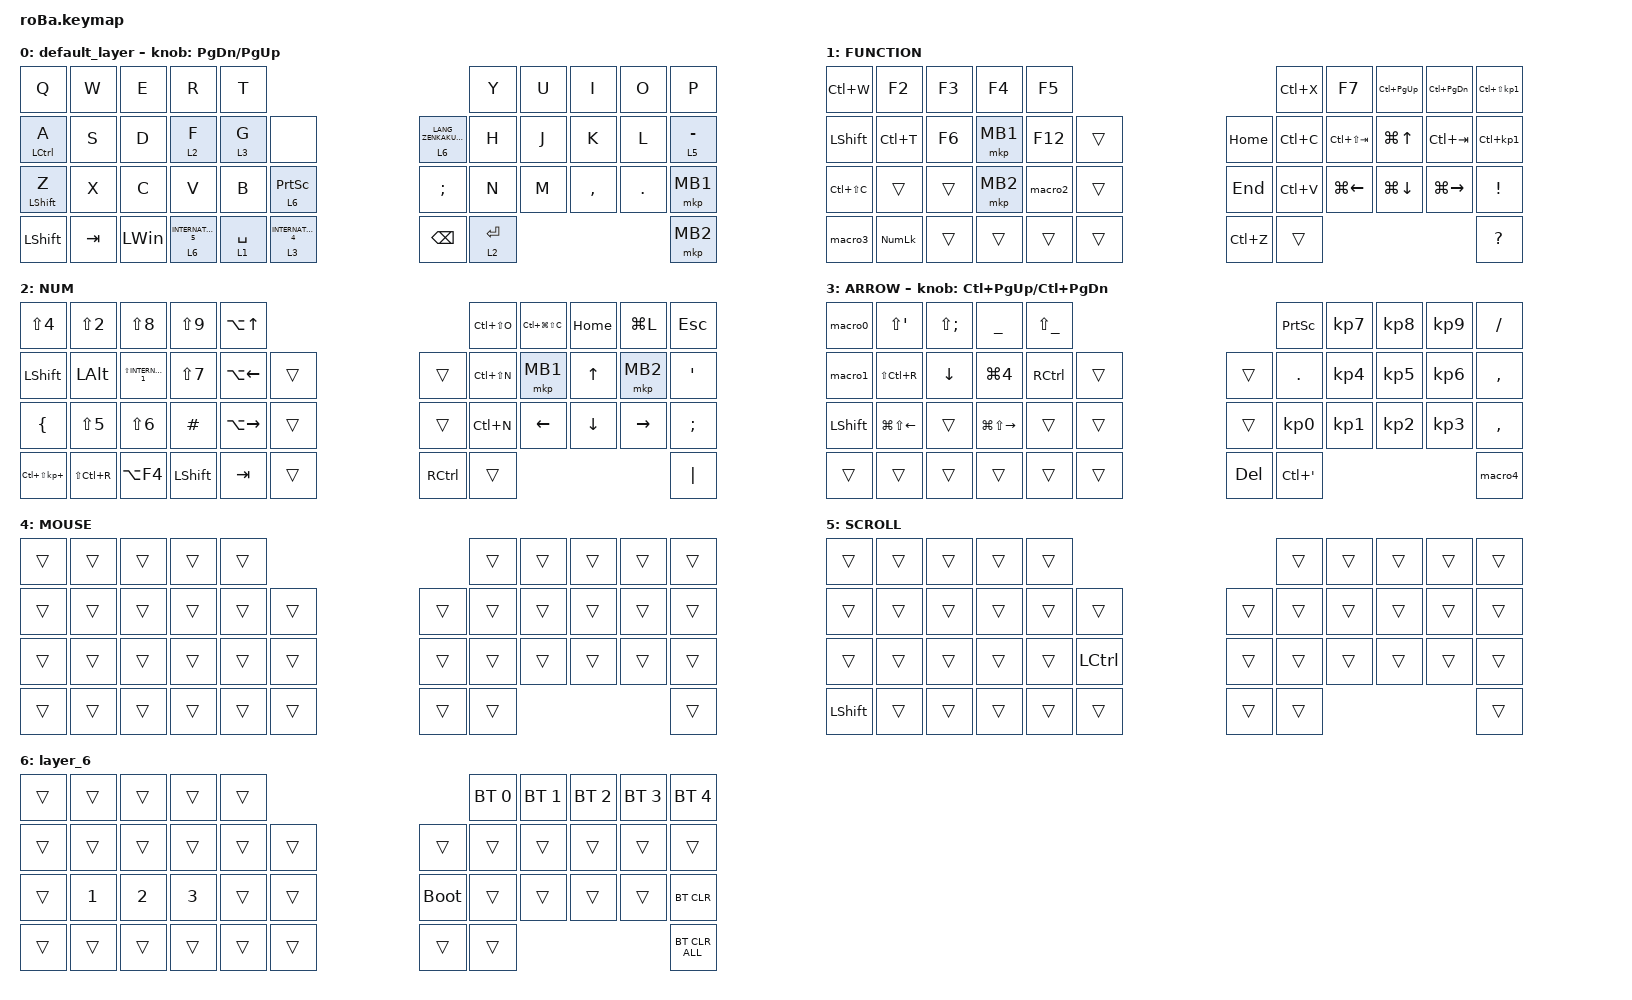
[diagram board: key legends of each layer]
#include <behaviors.dtsi>
#include <dt-bindings/zmk/bt.h>
#include <dt-bindings/zmk/keys.h>
#include <dt-bindings/zmk/pointing.h>

&mt {
    flavor = "balanced";
    quick-tap-ms = <0>;
};

&trackball {
    automouse-layer = <4>;
    scroll-layers = <5>;

    // arrows {
    //     layers = <3>;
    //     bindings =
    //         <&kp RIGHT_ARROW>,
    //         <&kp LEFT_ARROW>,
    //         <&kp UP_ARROW>,
    //         <&kp DOWN_ARROW>;
    //     tick = <10>;
    //     wait-ms = <5>;
    //     tap-ms = <5>;
    // };
};

/ {
    combos {
        compatible = "zmk,combos";

        macro4 {
            bindings = <&macro4>;
            key-positions = <11 12>;
        };
    };

    macros {
        to_layer_0: to_layer_0 {
            compatible = "zmk,behavior-macro-one-param";
            #binding-cells = <1>;
            bindings = <&to 0 &macro_param_1to1 &kp MACRO_PLACEHOLDER>;
            label = "TO_LAYER_0";
        };

        macro0: macro0 {
            compatible = "zmk,behavior-macro";
            #binding-cells = <0>;
            bindings = <&kp INT_MUHENKAN &kp LS(Q) &kp LS(Z) &kp U &kp G &kp X &kp NUMBER_2 &kp J &kp I &kp R &kp LS(R)>;
            label = "MACRO0";
        };

        macro1: macro1 {
            compatible = "zmk,behavior-macro";
            #binding-cells = <0>;
            bindings = <&kp N1 &kp N1 &kp N4 &kp N1 &kp N0 &kp N9 &kp N2>;
            label = "MACRO1";
        };

        macro2: macro2 {
            compatible = "zmk,behavior-macro";
            #binding-cells = <0>;
            bindings = <&kp INT_MUHENKAN &kp LEFT_ALT &kp F &kp A &kp B>;
            label = "MACRO2";
        };

        macro3: macro3 {
            compatible = "zmk,behavior-macro";
            #binding-cells = <0>;
            bindings = <&kp INT_MUHENKAN &kp LEFT_ALT &kp H &kp F &kp F &kp M &kp E &kp I &kp R &kp Y &kp O &kp SPACE &kp U &kp I &kp ENTER>;
            label = "MACRO3";
        };

        macro4: macro4 {
            compatible = "zmk,behavior-macro";
            #binding-cells = <0>;
            bindings = <&kp LEFT_ALT &kp F &kp I &kp U &kp N1>;
            label = "MACRO4";
        };
    };

    behaviors {
        lt_to_layer_0: lt_to_layer_0 {
            compatible = "zmk,behavior-hold-tap";
            label = "LAYER_TAP_TO_0";
            bindings = <&mo>, <&to_layer_0>;

            #binding-cells = <2>;
            tapping-term-ms = <200>;
        };
    };

    keymap {
        compatible = "zmk,keymap";

        default_layer {
            bindings = <
&kp Q             &kp W    &kp E         &kp R                             &kp T                                                                         &kp Y        &kp U  &kp I      &kp O    &kp P
&mt LCTRL A       &kp S    &kp D         &lt 2 F                           &lt 3 G      &none                                 &lt 6 LANG_ZENKAKUHANKAKU  &kp H        &kp J  &kp K      &kp L    &lt 5 MINUS
&mt LEFT_SHIFT Z  &kp X    &kp C         &kp V                             &kp B        &lt 6 PRINTSCREEN                     &kp SEMICOLON              &kp N        &kp M  &kp COMMA  &kp DOT  &mkp MB1
&kp LEFT_SHIFT    &kp TAB  &kp LEFT_WIN  &lt_to_layer_0 6 INTERNATIONAL_5  &lt 1 SPACE  &lt_to_layer_0 3 INTERNATIONAL_4      &kp BACKSPACE              &lt 2 ENTER                             &mkp MB2
            >;

            sensor-bindings = <&inc_dec_kp PAGE_DOWN PAGE_UP>;
        };

        FUNCTION {
            bindings = <
&kp LC(W)       &kp F2          &kp F3  &kp F4    &kp F5                          &kp LC(X)  &kp F7              &kp LC(PAGE_UP)     &kp LC(PAGE_DOWN)    &kp LC(LS(KP_NUMBER_1))
&kp LEFT_SHIFT  &kp LC(T)       &kp F6  &mkp MB1  &kp F12  &trans      &kp HOME   &kp LC(C)  &kp LC(LS(TAB))     &kp LG(UP_ARROW)    &kp LC(TAB)          &kp LC(KP_NUMBER_1)
&kp LC(LS(C))   &trans          &trans  &mkp MB2  &macro2  &trans      &kp END    &kp LC(V)  &kp LG(LEFT_ARROW)  &kp LG(DOWN_ARROW)  &kp LG(RIGHT_ARROW)  &kp EXCLAMATION
&macro3         &kp KP_NUMLOCK  &trans  &trans    &trans   &trans      &kp LC(Z)  &trans                                                                  &kp QUESTION
            >;
        };

        NUM {
            bindings = <
&kp LS(NUMBER_4)     &kp LS(NUMBER_2)  &kp LS(NUMBER_8)         &kp LS(NUMBER_9)  &kp LA(UP_ARROW)                            &kp LC(LS(O))  &kp LC(LG(LS(C)))  &kp HOME        &kp LG(L)        &kp ESC
&kp LEFT_SHIFT       &kp LEFT_ALT      &kp LS(INTERNATIONAL_1)  &kp LS(NUMBER_7)  &kp LA(LEFT_ARROW)   &trans      &trans     &kp LC(LS(N))  &mkp MB1           &kp UP_ARROW    &mkp MB2         &kp APOS
&kp LEFT_BRACE       &kp LS(NUMBER_5)  &kp LS(NUMBER_6)         &kp HASH          &kp LA(RIGHT_ARROW)  &trans      &trans     &kp LC(N)      &kp LEFT_ARROW     &kp DOWN_ARROW  &kp RIGHT_ARROW  &kp SEMICOLON
&kp LC(LS(KP_PLUS))  &kp LS(LC(R))     &kp LA(F4)               &kp LEFT_SHIFT    &kp TAB              &trans      &kp RCTRL  &trans                                                             &kp PIPE
            >;
        };

        ARROW {
            bindings = <
&macro0         &kp LS(APOS)            &kp LS(SEMI)    &kp UNDERSCORE           &kp LS(UNDERSCORE)                          &kp PRINTSCREEN  &kp KP_NUMBER_7  &kp KP_NUMBER_8  &kp KP_NUMBER_9  &kp SLASH
&macro1         &kp LS(LC(R))           &kp DOWN_ARROW  &kp LG(NUMBER_4)         &kp RCTRL           &trans      &trans      &kp PERIOD       &kp KP_NUMBER_4  &kp KP_NUMBER_5  &kp KP_NUMBER_6  &kp COMMA
&kp LEFT_SHIFT  &kp LG(LS(LEFT_ARROW))  &trans          &kp LG(LS(RIGHT_ARROW))  &trans              &trans      &trans      &kp KP_NUMBER_0  &kp KP_NUMBER_1  &kp KP_NUMBER_2  &kp KP_NUMBER_3  &kp COMMA
&trans          &trans                  &trans          &trans                   &trans              &trans      &kp DELETE  &kp LC(APOS)                                                        &macro4
            >;

            sensor-bindings = <&inc_dec_kp LC(PAGE_UP) LC(PAGE_DOWN)>;
        };

        MOUSE {
            bindings = <
&trans  &trans  &trans  &trans  &trans                      &trans  &trans  &trans  &trans  &trans
&trans  &trans  &trans  &trans  &trans  &trans      &trans  &trans  &trans  &trans  &trans  &trans
&trans  &trans  &trans  &trans  &trans  &trans      &trans  &trans  &trans  &trans  &trans  &trans
&trans  &trans  &trans  &trans  &trans  &trans      &trans  &trans                          &trans
            >;
        };

        SCROLL {
            bindings = <
&trans          &trans  &trans  &trans  &trans                         &trans  &trans  &trans  &trans  &trans
&trans          &trans  &trans  &trans  &trans  &trans         &trans  &trans  &trans  &trans  &trans  &trans
&trans          &trans  &trans  &trans  &trans  &kp LCTRL      &trans  &trans  &trans  &trans  &trans  &trans
&kp LEFT_SHIFT  &trans  &trans  &trans  &trans  &trans         &trans  &trans                          &trans
            >;
        };

        layer_6 {
            bindings = <
&trans  &trans        &trans        &trans        &trans                           &bt BT_SEL 0  &bt BT_SEL 1  &bt BT_SEL 2  &bt BT_SEL 3  &bt BT_SEL 4
&trans  &trans        &trans        &trans        &trans  &trans      &trans       &trans        &trans        &trans        &trans        &trans
&trans  &kp NUMBER_1  &kp NUMBER_2  &kp NUMBER_3  &trans  &trans      &bootloader  &trans        &trans        &trans        &trans        &bt BT_CLR
&trans  &trans        &trans        &trans        &trans  &trans      &trans       &trans                                                  &bt BT_CLR_ALL
            >;
        };
    };
};
